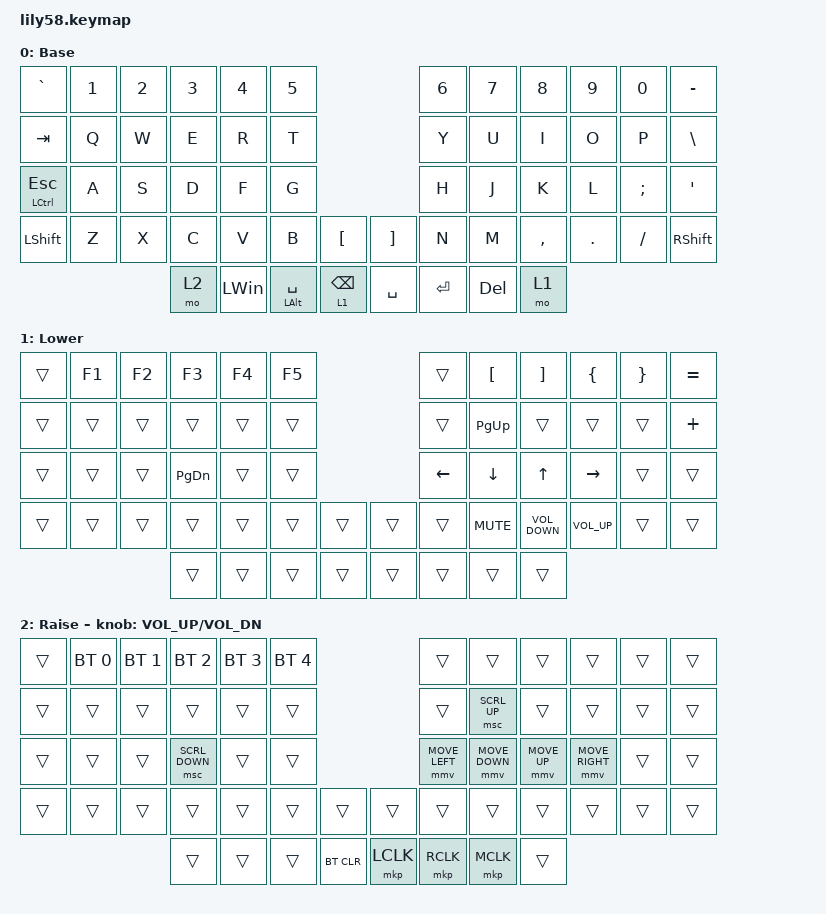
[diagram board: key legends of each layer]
/*
 * Copyright (c) 2020 The ZMK Contributors
 *
 * SPDX-License-Identifier: MIT
 */

#include <behaviors.dtsi>
#include <dt-bindings/zmk/bt.h>
#include <dt-bindings/zmk/keys.h>
#include <dt-bindings/zmk/pointing.h>

/ {
    behaviors {
        HT_LAYER2: HT_LAYER2 {
            compatible = "zmk,behavior-hold-tap";
            label = "HT_LAYER2";
            bindings = <&mo>, <&tog>;

            #binding-cells = <2>;
            tapping-term-ms = <200>;
            flavor = "tap-preferred";
            quick-tap-ms = <0>;
        };

        HT_L_KP_2: HT_L_KP_2 {
            compatible = "zmk,behavior-hold-tap";
            label = "HT_L_KP_2";
            bindings = <&mo>, <&kp>;

            #binding-cells = <2>;
            tapping-term-ms = <200>;
            quick-tap-ms = <0>;
            flavor = "tap-preferred";
        };

        HT_KP_LT_2: HT_KP_LT_2 {
            compatible = "zmk,behavior-hold-tap";
            label = "HT_KP_LT_2";
            bindings = <&kp>, <&tog>;

            #binding-cells = <2>;
            tapping-term-ms = <200>;
            flavor = "tap-preferred";
            quick-tap-ms = <0>;
        };

        TD_LCTRL_CAPS: TD_LCTRL_CAPS {
            compatible = "zmk,behavior-tap-dance";
            label = "TD_LCTRL_CAPS";
            #binding-cells = <0>;
            bindings = <&kp LCTRL>, <&kp CAPS>;
        };
    };

    keymap {
        compatible = "zmk,keymap";

        default_layer {
            // ------------------------------------------------------------------------------------------------------------
            // |  `    |  1  |  2  |  3   |  4   |  5   |                   |  6   |  7    |  8    |  9   |   0   |   -   |
            // |  TAB  |  Q  |  W  |  E   |  R   |  T   |                   |  Y   |  U    |  I    |  O   |   P   |   \   |
            // |CTRL/E |  A  |  S  |  D   |  F   |  G   |                   |  H   |  J    |  K    |  L   |   ;   |   '   |
            // | SHIFT |  Z  |  X  |  C   |  V   |  B   |   [    |  |   ]   |  N   |  M    |  ,    |  .   |   /   | SHIFT |
            //                     | MO2  |  GUI | ALT/SPC | BSPC/L1 | SPC | ENTER |  DEL  | MO1  |

            display-name = "Base";
            bindings = <
&kp GRAVE         &kp N1  &kp N2  &kp N3  &kp N4        &kp N5                                            &kp N6   &kp N7      &kp N8     &kp N9   &kp N0    &kp MINUS
&kp TAB           &kp Q   &kp W   &kp E   &kp R         &kp T                                             &kp Y    &kp U       &kp I      &kp O    &kp P     &kp BACKSLASH
&mt LCTRL ESCAPE  &kp A   &kp S   &kp D   &kp F         &kp G                                             &kp H    &kp J       &kp K      &kp L    &kp SEMI  &kp SQT
&kp LSHFT         &kp Z   &kp X   &kp C   &kp V         &kp B               &kp LBKT           &kp RBKT   &kp N    &kp M       &kp COMMA  &kp DOT  &kp FSLH  &kp RSHFT
                                  &mo 2   &kp LEFT_WIN  &mt LEFT_ALT SPACE  &lt 1 BACKSPACE    &kp SPACE  &kp RET  &kp DELETE  &mo 1
            >;
        };

        lower_layer {
            // ------------------------------------------------------------------------------------------------------------
            // | TRNS |     |     |      |      |      |                   | TRNS |  [   |   ]   |   {   |   }   |   =   |
            // | TRNS |     |     |      |      |      |                   | TRNS | PgUp |       |       |       |   +   |
            // | TRNS |     |     | PgDn |      |      |                   | Left | Down |   Up  | Right |       |       |
            // | TRNS |     |     |      |      |      |        |  |        | TRNS | Mute | Vol-  | Vol+  |       |       |
            //                     | TRNS | TRNS | TRNS | TRNS |  | TRNS | TRNS | TRNS |

            label = "Lower";
            bindings = <
&trans  &kp F1  &kp F2  &kp F3         &kp F4  &kp F5                    &trans          &kp LEFT_BRACKET  &kp RIGHT_BRACKET  &kp LEFT_BRACE   &kp RIGHT_BRACE  &kp EQUAL
&trans  &trans  &trans  &trans         &trans  &trans                    &trans          &kp PAGE_UP       &trans             &trans           &trans           &kp PLUS
&trans  &trans  &trans  &kp PAGE_DOWN  &trans  &trans                    &kp LEFT_ARROW  &kp DOWN_ARROW    &kp UP_ARROW       &kp RIGHT_ARROW  &trans           &trans
&trans  &trans  &trans  &trans         &trans  &trans  &trans    &trans  &trans          &kp K_MUTE        &kp C_VOLUME_DOWN  &kp C_VOLUME_UP  &trans           &trans
                        &trans         &trans  &trans  &trans    &trans  &trans          &trans            &trans
            >;
        };

        raise_layer {
            // ------------------------------------------------------------------------------------------------------------
            // | BT0  | BT1 | BT2 | BT3  | BT4  |      |                   |      |       |       |       |       |       |
            // |      |     |     |      |      |      |                   |      | WhUp  |       |       |       |       |
            // |      |     |     | WhDn |      |      |                   | Left | Down  |  Up   | Right |       |       |
            // |      |     |     |      |      |      |        |  |        |      |       |       |       |       |       |
            //                     |      |      |      | BTCLR | LCLK | RCLK |      |      |

            display-name = "Raise";
            bindings = <
&trans  &bt BT_SEL 0  &bt BT_SEL 1  &bt BT_SEL 2    &bt BT_SEL 3  &bt BT_SEL 4                           &trans          &trans          &trans        &trans           &trans  &trans
&trans  &trans        &trans        &trans          &trans        &trans                                 &trans          &msc SCRL_UP    &trans        &trans           &trans  &trans
&trans  &trans        &trans        &msc SCRL_DOWN  &trans        &trans                                 &mmv MOVE_LEFT  &mmv MOVE_DOWN  &mmv MOVE_UP  &mmv MOVE_RIGHT  &trans  &trans
&trans  &trans        &trans        &trans          &trans        &trans        &trans        &trans     &trans          &trans          &trans        &trans           &trans  &trans
                                    &trans          &trans        &trans        &bt BT_CLR    &mkp LCLK  &mkp RCLK       &mkp MCLK       &trans
            >;

            sensor-bindings = <&inc_dec_kp C_VOL_UP C_VOL_DN>;
        };
    };
};
